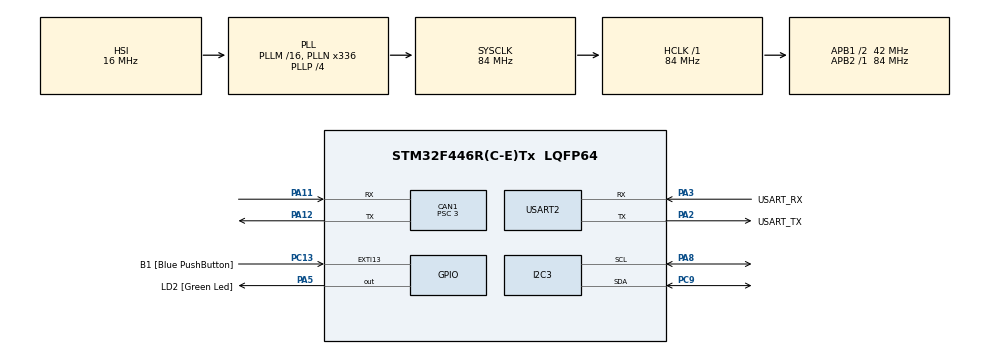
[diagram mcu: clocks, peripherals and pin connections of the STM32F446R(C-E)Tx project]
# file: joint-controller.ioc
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CAN1.ABOM=ENABLE
CAN1.BS1=CAN_BS1_10TQ
CAN1.BS2=CAN_BS2_3TQ
CAN1.CalculateBaudRate=1000000
CAN1.CalculateTimeBit=1000
CAN1.CalculateTimeQuantum=71.42857142857143
CAN1.NART=ENABLE
CAN1.Prescaler=3
Dma.I2C3_RX.0.Direction=DMA_PERIPH_TO_MEMORY
Dma.I2C3_RX.0.FIFOMode=DMA_FIFOMODE_DISABLE
Dma.I2C3_RX.0.Instance=DMA1_Stream1
Dma.I2C3_RX.0.MemDataAlignment=DMA_MDATAALIGN_BYTE
Dma.I2C3_RX.0.MemInc=DMA_MINC_ENABLE
Dma.I2C3_RX.0.Mode=DMA_NORMAL
Dma.I2C3_RX.0.PeriphDataAlignment=DMA_PDATAALIGN_BYTE
Dma.I2C3_RX.0.PeriphInc=DMA_PINC_DISABLE
Dma.I2C3_RX.0.Priority=DMA_PRIORITY_LOW
Dma.Request0=I2C3_RX
I2C3.I2C_Mode=I2C_Fast
Mcu.Family=STM32F4
Mcu.Name=STM32F446R(C-E)Tx
Mcu.Package=LQFP64
NVIC.DMA1_Stream1_IRQn=true\:0\:0\:false\:false\:true\:false\:true\:true
NVIC.PriorityGroup=NVIC_PRIORITYGROUP_0
NVIC.USART2_IRQn=true\:0\:0\:false\:false\:true\:true\:true\:true
PA11.Mode=CAN_Activate
PA11.Signal=CAN1_RX
PA12.Mode=CAN_Activate
PA12.Signal=CAN1_TX
PA13.GPIO_Label=TMS
PA13.Mode=Serial_Wire
PA13.Signal=SYS_JTMS-SWDIO
PA14.GPIO_Label=TCK
PA14.Mode=Serial_Wire
PA14.Signal=SYS_JTCK-SWCLK
PA2.GPIO_Label=USART_TX
PA2.Mode=Asynchronous
PA2.Signal=USART2_TX
PA3.GPIO_Label=USART_RX
PA3.Mode=Asynchronous
PA3.Signal=USART2_RX
PA5.GPIO_Label=LD2 [Green Led]
PA5.Signal=GPIO_Output
PA8.Mode=I2C
PA8.Signal=I2C3_SCL
PB3.GPIO_Label=SWO
PB3.Signal=SYS_JTDO-SWO
PC13.GPIO_Label=B1 [Blue PushButton]
PC13.GPIO_ModeDefaultEXTI=GPIO_MODE_IT_FALLING
PC13.Signal=GPXTI13
PC14-OSC32_IN.Mode=LSE-External-Oscillator
PC14-OSC32_IN.Signal=RCC_OSC32_IN
PC15-OSC32_OUT.Mode=LSE-External-Oscillator
PC15-OSC32_OUT.Signal=RCC_OSC32_OUT
PC9.Mode=I2C
PC9.Signal=I2C3_SDA
PH0-OSC_IN.Mode=HSE-External-Oscillator
PH0-OSC_IN.Signal=RCC_OSC_IN
PH1-OSC_OUT.Mode=HSE-External-Oscillator
PH1-OSC_OUT.Signal=RCC_OSC_OUT
ProjectManager.HeapSize=0x200
ProjectManager.StackSize=0x400
ProjectManager.TargetToolchain=STM32CubeIDE
RCC.48MHZClocksFreq_Value=84000000
RCC.AHBFreq_Value=84000000
RCC.APB1CLKDivider=RCC_HCLK_DIV2
RCC.APB1Freq_Value=42000000
RCC.APB1TimFreq_Value=84000000
RCC.APB2Freq_Value=84000000
RCC.APB2TimFreq_Value=84000000
RCC.CortexFreq_Value=84000000
RCC.FLatency-AdvancedSettings=FLASH_LATENCY_2
RCC.HCLKFreq_Value=84000000
RCC.HSE_VALUE=8000000
RCC.HSI_VALUE=16000000
RCC.PLLN=336
RCC.PLLP=RCC_PLLP_DIV4
RCC.SYSCLKFreq_VALUE=84000000
RCC.SYSCLKSource=RCC_SYSCLKSOURCE_PLLCLK
RCC.USBFreq_Value=168000000
RCC.VCOOutputFreq_Value=336000000
USART2.VirtualMode=VM_ASYNC
board=NUCLEO-F446RE

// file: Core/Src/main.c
/* USER CODE BEGIN Header */
/**
 ******************************************************************************
 * @file           : main.c
 * @brief          : Main program body
 ******************************************************************************
 * @attention
 *
 * Copyright (c) 2026 STMicroelectronics.
 * All rights reserved.
 *
 * This software is licensed under terms that can be found in the LICENSE file
 * in the root directory of this software component.
 * If no LICENSE file comes with this software, it is provided AS-IS.
 *
 ******************************************************************************
 */
/* USER CODE END Header */
#include "main.h"
#include "lsm6ds3tr.h"

/* USER CODE BEGIN Includes */
#include <stdio.h>
#include <string.h>
#include <stdarg.h>
#include "can_common.h"
#include "can_imu.h"
#include "can_motor.h"
#include "can/ak70_9.h"
/* USER CODE END Includes */

/* USER CODE BEGIN PD */
/*
 * Per-board configuration. Change before flashing each joint.
 *   Left Hip = 1, Right Hip = 2, Left Knee = 3, Right Knee = 4
 */
#define MY_NODE_ID          4
#define MY_MOTOR_CAN_ID     107

/* AK70-9 KV60: torque = Kt * gear_ratio * Iq -> Iq = torque / KT_EFFECTIVE */
#define AK70_9_KT           0.159f
#define AK70_9_GEAR_RATIO   9.0f
#define KT_EFFECTIVE        (AK70_9_KT * AK70_9_GEAR_RATIO)

#define CURRENT_REFRESH_MS  50      /* prevents VESC current-loop timeout */
#define CURRENT_LIMIT       5.0f    /* test-safe current clamp (A) */
#define IMU_PERIOD_MS       2       /* 500 Hz IMU send */
/* USER CODE END PD */

CAN_HandleTypeDef hcan1;

I2C_HandleTypeDef hi2c3;
DMA_HandleTypeDef hdma_i2c3_rx;

UART_HandleTypeDef huart2;

/* USER CODE BEGIN PV */
static MotorStatus motor_status      = {0};
static float      active_current     = 0.0f;
static uint8_t    motor_active       = 0;
static uint8_t    estop_active       = 0;
static uint32_t   last_refresh_tick  = 0;
static uint32_t   ext_rx_count       = 0;
static uint8_t    origin_set         = 0;   /* zeroed on first VESC feedback frame */
/* USER CODE END PV */

void SystemClock_Config(void);
static void MX_GPIO_Init(void);
static void MX_DMA_Init(void);
static void MX_USART2_UART_Init(void);
static void MX_CAN1_Init(void);
static void MX_I2C3_Init(void);
/* USER CODE BEGIN PFP */
static void CAN_Send_IMU_Data(void);
/* USER CODE END PFP */

/* USER CODE BEGIN 0 */
static float clampf(float val, float lo, float hi)
{
  if (val < lo) return lo;
  if (val > hi) return hi;
  return val;
}

static void debug_print(const char *msg)
{
  HAL_UART_Transmit(&huart2, (uint8_t *)msg, (uint16_t)strlen(msg), 50);
}

static void debug_printf(const char *fmt, ...)
{
  char buf[128];
  va_list args;
  va_start(args, fmt);
  int n = vsnprintf(buf, sizeof(buf), fmt, args);
  va_end(args);
  if (n > 0) HAL_UART_Transmit(&huart2, (uint8_t *)buf, (uint16_t)n, 50);
}
/* USER CODE END 0 */

int main(void)
{
  HAL_Init();
  SystemClock_Config();

  MX_GPIO_Init();
  MX_DMA_Init();
  MX_USART2_UART_Init();
  MX_CAN1_Init();
  MX_I2C3_Init();

  /* USER CODE BEGIN 2 */
  if (!can_common_init(&hcan1, MY_NODE_ID))
  {
    debug_print("CAN INIT FAILED\r\n");
    HAL_GPIO_WritePin(LD2_GPIO_Port, LD2_Pin, GPIO_PIN_SET);
    while (1) {}
  }
  can_set_motor_filter(MY_MOTOR_CAN_ID);
  debug_printf("CAN OK node=%u motor=%u\r\n",
               (unsigned)MY_NODE_ID, (unsigned)MY_MOTOR_CAN_ID);

  lsm6ds3tr_init_driver(&hi2c3);
  if (!lsm6ds3tr_check_connection())
  {
    debug_print("IMU NOT FOUND\r\n");
    HAL_GPIO_WritePin(LD2_GPIO_Port, LD2_Pin, GPIO_PIN_SET);
    while (1) {}
  }
  lsm6ds3tr_calibrate();
  debug_print("READY\r\n");

  uint32_t last_imu_tick    = HAL_GetTick();
  uint32_t last_status_tick = HAL_GetTick();
  /* USER CODE END 2 */

  /* Infinite loop */
  while (1)
  {
    /* USER CODE BEGIN WHILE */

    /* ── Drain CAN RX ──
     * NO per-frame logging. At two nodes with VESC traffic, anything
     * faster than 1 Hz over UART blocks the main loop and breaks the
     * 50 ms motor refresh.
     */
    CanFrame rx_frame;
    while (can_recv(&rx_frame))
    {
      if (rx_frame.is_extended)
      {
        ext_rx_count++;
        motor_receive(&motor_status, rx_frame.data);

        /* First time we hear from the VESC = motor is detected. Zero the
         * encoder origin so position is reported relative to whatever pose
         * the joint is in at startup. Mode 0 = temporary (lost on power
         * cycle), so each boot re-zeros without writing to the VESC's flash. */
        if (!origin_set)
        {
          comm_can_set_origin(MY_MOTOR_CAN_ID, 0);
          origin_set = 1;
        }

      }
      else
      {

        if (rx_frame.id == CAN_ID_GLOBAL_RESET)
        {
          for (int i = 0; i < 10; i++)
          {
            HAL_GPIO_TogglePin(LD2_GPIO_Port, LD2_Pin);
            HAL_Delay(50);
          }
          HAL_NVIC_SystemReset();
        }

        uint8_t msg_type = can_get_msg_type((uint16_t)rx_frame.id);

        if (msg_type == CAN_MSG_ESTOP)
        {
          active_current = 0.0f;
          motor_active   = 0;
          estop_active   = 1;
          comm_can_set_current(MY_MOTOR_CAN_ID, 0.0f);
        }
        else if (msg_type == CAN_MSG_TORQUE_CMD && !estop_active)
        {
          float torque_nm;
          if (can_parse_torque_cmd(&rx_frame, &torque_nm))
          {
            float current = torque_nm / KT_EFFECTIVE;
            active_current = clampf(current, -CURRENT_LIMIT, CURRENT_LIMIT);
            motor_active = 1;
            comm_can_set_current(MY_MOTOR_CAN_ID, active_current);
            last_refresh_tick = HAL_GetTick();
          }
        }
      }
    }

    /* ── Refresh: re-send current command every 50 ms to prevent VESC timeout ── */
    if (motor_active &&
        (HAL_GetTick() - last_refresh_tick >= CURRENT_REFRESH_MS))
    {
      comm_can_set_current(MY_MOTOR_CAN_ID, active_current);
      last_refresh_tick = HAL_GetTick();
    }

    /* ── 200 Hz IMU send + DMA read ── */
    if ((HAL_GetTick() - last_imu_tick) >= IMU_PERIOD_MS)
    {
      last_imu_tick = HAL_GetTick();
      CAN_Send_IMU_Data();
      lsm6ds3tr_init_dma_read();
    }

    /* ── 1 Hz status dump (mirrors torque-controller) ── */
    if (HAL_GetTick() - last_status_tick >= 1000)
    {
      debug_printf("[STATUS] active=%d estop=%d cmd=%.3fA motor_rx=%lu | "
                   "pos=%.1f spd=%.0f cur=%.2fA temp=%dC err=%d\r\n",
                   motor_active, estop_active, active_current,
                   (unsigned long)ext_rx_count,
                   motor_status.position, motor_status.speed,
                   motor_status.current, motor_status.temperature,
                   motor_status.error);
      last_status_tick = HAL_GetTick();
    }

    /* USER CODE END WHILE */
  }
}

void SystemClock_Config(void)
{
  RCC_OscInitTypeDef RCC_OscInitStruct = {0};
  RCC_ClkInitTypeDef RCC_ClkInitStruct = {0};

  __HAL_RCC_PWR_CLK_ENABLE();
  __HAL_PWR_VOLTAGESCALING_CONFIG(PWR_REGULATOR_VOLTAGE_SCALE3);

  RCC_OscInitStruct.OscillatorType = RCC_OSCILLATORTYPE_HSI;
  RCC_OscInitStruct.HSIState = RCC_HSI_ON;
  RCC_OscInitStruct.HSICalibrationValue = RCC_HSICALIBRATION_DEFAULT;
  RCC_OscInitStruct.PLL.PLLState = RCC_PLL_ON;
  RCC_OscInitStruct.PLL.PLLSource = RCC_PLLSOURCE_HSI;
  RCC_OscInitStruct.PLL.PLLM = 16;
  RCC_OscInitStruct.PLL.PLLN = 336;
  RCC_OscInitStruct.PLL.PLLP = RCC_PLLP_DIV4;
  RCC_OscInitStruct.PLL.PLLQ = 2;
  RCC_OscInitStruct.PLL.PLLR = 2;
  if (HAL_RCC_OscConfig(&RCC_OscInitStruct) != HAL_OK)
  {
    Error_Handler();
  }

  RCC_ClkInitStruct.ClockType = RCC_CLOCKTYPE_HCLK | RCC_CLOCKTYPE_SYSCLK | RCC_CLOCKTYPE_PCLK1 | RCC_CLOCKTYPE_PCLK2;
  RCC_ClkInitStruct.SYSCLKSource = RCC_SYSCLKSOURCE_PLLCLK;
  RCC_ClkInitStruct.AHBCLKDivider = RCC_SYSCLK_DIV1;
  RCC_ClkInitStruct.APB1CLKDivider = RCC_HCLK_DIV2;
  RCC_ClkInitStruct.APB2CLKDivider = RCC_HCLK_DIV1;

  if (HAL_RCC_ClockConfig(&RCC_ClkInitStruct, FLASH_LATENCY_2) != HAL_OK)
  {
    Error_Handler();
  }
}

static void MX_CAN1_Init(void)
{
  hcan1.Instance = CAN1;
  hcan1.Init.Prescaler = 3;
  hcan1.Init.Mode = CAN_MODE_NORMAL;
  hcan1.Init.SyncJumpWidth = CAN_SJW_1TQ;
  hcan1.Init.TimeSeg1 = CAN_BS1_10TQ;
  hcan1.Init.TimeSeg2 = CAN_BS2_3TQ;
  hcan1.Init.TimeTriggeredMode = DISABLE;
  hcan1.Init.AutoBusOff = ENABLE;
  hcan1.Init.AutoWakeUp = DISABLE;
  hcan1.Init.AutoRetransmission = ENABLE;
  hcan1.Init.ReceiveFifoLocked = DISABLE;
  hcan1.Init.TransmitFifoPriority = DISABLE;
  if (HAL_CAN_Init(&hcan1) != HAL_OK)
  {
    Error_Handler();
  }
}

static void MX_I2C3_Init(void)
{
  hi2c3.Instance = I2C3;
  hi2c3.Init.ClockSpeed = 400000;
  hi2c3.Init.DutyCycle = I2C_DUTYCYCLE_2;
  hi2c3.Init.OwnAddress1 = 0;
  hi2c3.Init.AddressingMode = I2C_ADDRESSINGMODE_7BIT;
  hi2c3.Init.DualAddressMode = I2C_DUALADDRESS_DISABLE;
  hi2c3.Init.OwnAddress2 = 0;
  hi2c3.Init.GeneralCallMode = I2C_GENERALCALL_DISABLE;
  hi2c3.Init.NoStretchMode = I2C_NOSTRETCH_DISABLE;
  if (HAL_I2C_Init(&hi2c3) != HAL_OK)
  {
    Error_Handler();
  }
}

static void MX_USART2_UART_Init(void)
{
  huart2.Instance = USART2;
  huart2.Init.BaudRate = 115200;
  huart2.Init.WordLength = UART_WORDLENGTH_8B;
  huart2.Init.StopBits = UART_STOPBITS_1;
  huart2.Init.Parity = UART_PARITY_NONE;
  huart2.Init.Mode = UART_MODE_TX_RX;
  huart2.Init.HwFlowCtl = UART_HWCONTROL_NONE;
  huart2.Init.OverSampling = UART_OVERSAMPLING_16;
  if (HAL_UART_Init(&huart2) != HAL_OK)
  {
    Error_Handler();
  }
}

static void MX_DMA_Init(void)
{
  __HAL_RCC_DMA1_CLK_ENABLE();

  HAL_NVIC_SetPriority(DMA1_Stream1_IRQn, 0, 0);
  HAL_NVIC_EnableIRQ(DMA1_Stream1_IRQn);
}

static void MX_GPIO_Init(void)
{
  GPIO_InitTypeDef GPIO_InitStruct = {0};

  __HAL_RCC_GPIOC_CLK_ENABLE();
  __HAL_RCC_GPIOH_CLK_ENABLE();
  __HAL_RCC_GPIOA_CLK_ENABLE();
  __HAL_RCC_GPIOB_CLK_ENABLE();

  HAL_GPIO_WritePin(LD2_GPIO_Port, LD2_Pin, GPIO_PIN_RESET);

  GPIO_InitStruct.Pin = B1_Pin;
  GPIO_InitStruct.Mode = GPIO_MODE_IT_FALLING;
  GPIO_InitStruct.Pull = GPIO_NOPULL;
  HAL_GPIO_Init(B1_GPIO_Port, &GPIO_InitStruct);

  GPIO_InitStruct.Pin = LD2_Pin;
  GPIO_InitStruct.Mode = GPIO_MODE_OUTPUT_PP;
  GPIO_InitStruct.Pull = GPIO_NOPULL;
  GPIO_InitStruct.Speed = GPIO_SPEED_FREQ_LOW;
  HAL_GPIO_Init(LD2_GPIO_Port, &GPIO_InitStruct);
}

/* USER CODE BEGIN 4 */

/**
 * @brief Encode + transmit the latest IMU reading. Motor position rides
 *        along in the gyro frame's spare 2 bytes (DLC 8) for shared timestamp.
 */
static void CAN_Send_IMU_Data(void)
{
  LSM6DS3TR_Data_t *imu = lsm6ds3tr_get_data();

  if (imu->state != SENSOR_STATE_CONNECTED) return;
  if (HAL_CAN_GetTxMailboxesFreeLevel(&hcan1) < 2) return;

  HAL_NVIC_DisableIRQ(DMA1_Stream1_IRQn);
  float ax = imu->accel.filt_x;
  float ay = imu->accel.filt_y;
  float az = imu->accel.filt_z;
  float gx = imu->gyro.filt_x;
  float gy = imu->gyro.filt_y;
  float gz = imu->gyro.filt_z;
  HAL_NVIC_EnableIRQ(DMA1_Stream1_IRQn);

  can_send_imu_accel(MY_NODE_ID, ax, ay, az);
  can_send_imu_gyro(MY_NODE_ID, gx, gy, gz, motor_status.position);
}

/* USER CODE END 4 */

void Error_Handler(void)
{
  __disable_irq();
  while (1) {}
}
